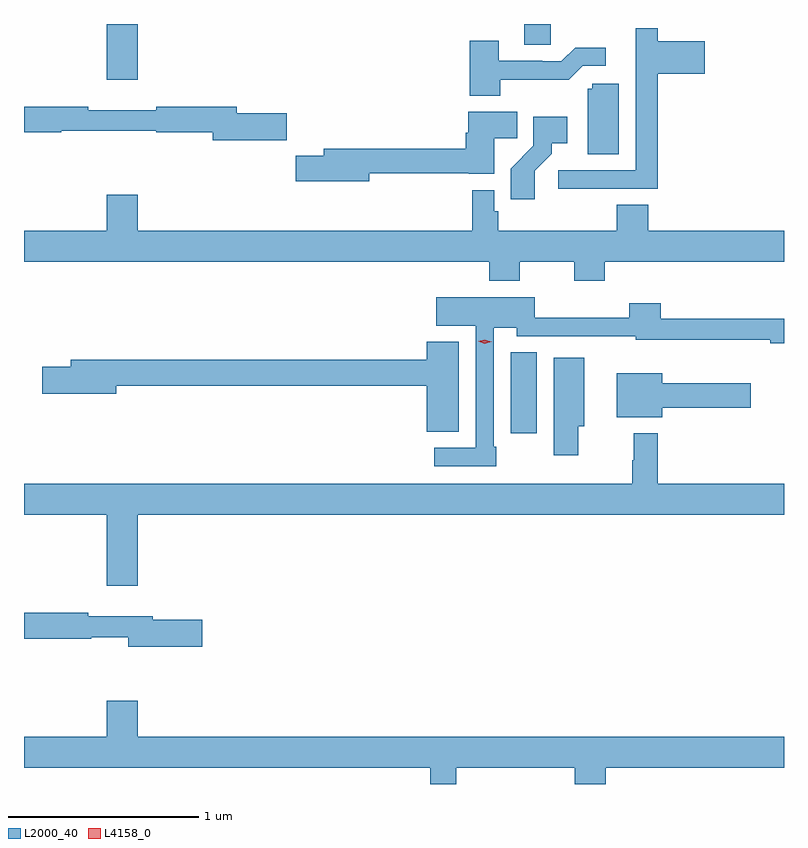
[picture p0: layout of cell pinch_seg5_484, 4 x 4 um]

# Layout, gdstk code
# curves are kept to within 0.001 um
import gdstk
lib = gdstk.Library(unit=1e-6, precision=1e-09)
def R(c, l, rs):  # rectangles x0, y0, x1, y1
    for r in rs: c.add(gdstk.rectangle(r[:2], r[2:], *l))
def P(c, l, *ps):  # polygons
    for p in ps: c.add(gdstk.Polygon(p, *l))
L2000_40 = (2000, 40)
L4158_0 = (4158, 0)

pinch_seg5_484 = lib.new_cell('pinch_seg5_484')
R(pinch_seg5_484, L2000_40, [(898.403,842.538,898.54,842.963), (896.276,844.398,896.44,844.691), (898.475,844.582,898.614,844.691)])
P(pinch_seg5_484, L2000_40, [(898.877,843.825),(899.177,843.825),(899.177,844.43),(899.425,844.43),(899.425,844.6),(899.177,844.6),(899.177,844.669),(899.06,844.669),(899.06,844.446),(899.061,844.446),(899.061,843.921),(898.653,843.921),(898.653,843.823),(898.877,843.823)],
  [(898.347,844.398),(898.709,844.397),(898.782,844.47),(898.903,844.47),(898.903,844.567),(898.741,844.567),(898.668,844.494),(898.568,844.494),(898.568,844.497),(898.339,844.497),(898.339,844.603),(898.187,844.603),(898.187,844.313),(898.347,844.313)],
  [(898.972,844.377),(898.833,844.377),(898.833,844.35),(898.808,844.35),(898.808,844.006),(898.972,844.006)],
  [(897.223,844.22),(896.962,844.22),(896.962,844.256),(896.536,844.256),(896.536,844.237),(896.18,844.237),(896.18,844.256),(895.841,844.256),(895.841,844.12),(896.038,844.12),(896.038,844.128),(896.538,844.128),(896.538,844.12),(896.834,844.12),(896.834,844.078),(897.223,844.078)],
  [(897.658,843.906),(898.182,843.906),(898.182,843.902),(898.315,843.902),(898.315,844.09),(898.436,844.09),(898.436,844.228),(898.178,844.228),(898.178,844.118),(898.166,844.118),(898.166,844.034),(897.419,844.034),(897.419,843.998),(897.27,843.998),(897.27,843.863),(897.658,843.863)],
  [(898.528,843.919),(898.618,844.009),(898.618,844.064),(898.699,844.064),(898.699,844.204),(898.521,844.204),(898.521,844.049),(898.402,843.93),(898.402,843.768),(898.528,843.768)],
  [(898.449,843.44),(898.738,843.44),(898.738,843.341),(898.898,843.341),(898.898,843.44),(899.841,843.44),(899.841,843.604),(899.126,843.604),(899.126,843.74),(898.961,843.74),(898.961,843.604),(898.337,843.604),(898.337,843.705),(898.317,843.705),(898.317,843.817),(898.201,843.817),(898.201,843.604),(896.44,843.604),(896.44,843.793),(896.276,843.793),(896.276,843.604),(895.841,843.604),(895.841,843.44),(898.289,843.44),(898.289,843.341),(898.449,843.341)],
  [(898.327,842.467),(898.314,842.467),(898.314,843.092),(898.434,843.092),(898.434,843.048),(899.061,843.048),(899.061,843.028),(899.768,843.028),(899.768,843.01),(899.841,843.01),(899.841,843.139),(899.192,843.139),(899.192,843.22),(899.027,843.22),(899.027,843.146),(898.53,843.146),(898.53,843.253),(898.011,843.253),(898.011,843.104),(898.218,843.104),(898.218,842.46),(897.999,842.46),(897.999,842.364),(898.327,842.364)],
  [(898.129,843.019),(897.962,843.019),(897.962,842.924),(896.087,842.924),(896.087,842.888),(895.938,842.888),(895.938,842.746),(896.326,842.746),(896.326,842.788),(897.962,842.788),(897.962,842.545),(898.129,842.545)],
  [(898.758,842.573),(898.789,842.573),(898.789,842.935),(898.628,842.935),(898.628,842.421),(898.758,842.421)],
  [(899.2,842.671),(899.665,842.671),(899.665,842.8),(899.2,842.8),(899.2,842.854),(898.961,842.854),(898.961,842.621),(899.2,842.621)],
  [(896.44,842.108),(899.841,842.108),(899.841,842.272),(899.177,842.272),(899.177,842.536),(899.049,842.536),(899.049,842.396),(899.041,842.396),(899.041,842.272),(895.841,842.272),(895.841,842.108),(896.276,842.108),(896.276,841.734),(896.44,841.734)],
  [(896.779,841.556),(896.518,841.556),(896.518,841.573),(896.18,841.573),(896.18,841.592),(895.841,841.592),(895.841,841.456),(896.194,841.456),(896.194,841.464),(896.39,841.464),(896.39,841.414),(896.779,841.414)],
  [(898.115,840.776),(898.739,840.776),(898.739,840.691),(898.904,840.691),(898.904,840.776),(899.841,840.776),(899.841,840.94),(896.44,840.94),(896.44,841.129),(896.276,841.129),(896.276,840.94),(895.841,840.94),(895.841,840.776),(897.979,840.776),(897.979,840.691),(898.115,840.691)])
P(pinch_seg5_484, L4158_0, [(898.267,843.009),(898.232,843.02),(898.232,843.02),(898.232,843.02),(898.267,843.029),(898.301,843.019),(898.302,843.018),(898.301,843.018)])

lib.write_gds('pinch_seg5_484.gds')
